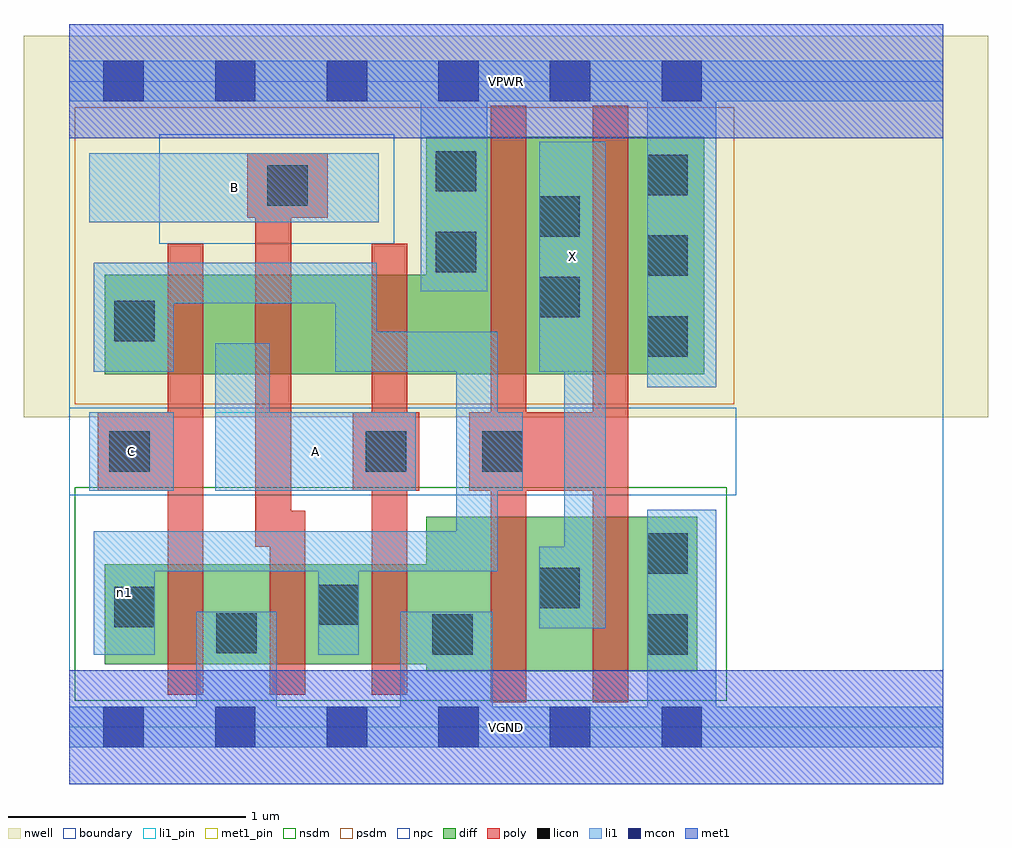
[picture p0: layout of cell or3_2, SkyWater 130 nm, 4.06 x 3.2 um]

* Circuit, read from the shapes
.subckt or3_2 A B C VGND VPWR X n1
XM1 VGND C n1 VSUBS sky130_fd_pr__nfet_01v8 w=0.42 l=0.15
XM2 n1 B VGND VSUBS sky130_fd_pr__nfet_01v8 w=0.42 l=0.15
XM3 VGND A n1 VSUBS sky130_fd_pr__nfet_01v8 w=0.42 l=0.15
XM4 X n1 VGND VSUBS sky130_fd_pr__nfet_01v8 w=0.65 l=0.15 m=2
XM5 n2 C n1 n3 sky130_fd_pr__pfet_01v8 w=0.42 l=0.15
XM6 n4 B n2 n3 sky130_fd_pr__pfet_01v8 w=0.42 l=0.15
XM7 VPWR A n4 n3 sky130_fd_pr__pfet_01v8 w=0.42 l=0.15
XM8 X n1 VPWR n3 sky130_fd_pr__pfet_01v8 w=1 l=0.15 m=2
.ends

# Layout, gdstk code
import gdstk
lib = gdstk.Library(unit=1e-6, precision=1e-09)
def R(c, l, rs):  # rectangles x0, y0, x1, y1
    for r in rs: c.add(gdstk.rectangle(r[:2], r[2:], *l))
def A(c, l, x, y, w, h, nx, ny, dx, dy):  # array of equal rectangles
    R(c, l, [(x+i*dx, y+j*dy, x+i*dx+w, y+j*dy+h) for i in range(nx) for j in range(ny)])
nwell = (64, 20)
diff = (65, 20)
poly = (66, 20)
licon = (66, 44)
li1_pin = (67, 16)
li1 = (67, 20)
mcon = (67, 44)
met1_pin = (68, 16)
met1 = (68, 20)
nsdm = (93, 44)
psdm = (94, 20)
npc = (95, 20)
boundary = (235, 4)

or3_2 = lib.new_cell('or3_2')
R(or3_2, nwell, [(-0.19,1.305,3.87,2.91), (0,1.305,3.68,2.91)])
R(or3_2, diff, [(1.505,0.235,2.645,0.885), (0.15,0.265,2.645,0.685), (0.15,1.485,2.675,1.905), (1.505,1.485,2.675,2.485)])
R(or3_2, poly, [(1.775,0.105,1.925,2.615), (2.205,0.105,2.355,2.615), (0.415,0.135,0.565,2.035), (0.845,0.135,0.995,0.91), (1.275,0.135,1.425,2.035), (0.785,0.76,0.935,2.415), (0.12,0.995,0.565,1.325), (1.195,0.995,1.475,1.325), (1.685,0.995,2.355,1.325), (0.75,2.145,1.09,2.415)])
A(or3_2, licon, 2.435, 1.56, 0.17, 0.17, 1, 3, 0, 0.34)
R(or3_2, licon, [(1.53,0.305,1.7,0.475), (2.435,0.305,2.605,0.475), (0.62,0.31,0.79,0.48), (0.19,0.42,0.36,0.59), (1.05,0.43,1.22,0.6), (1.98,0.5,2.15,0.67), (2.435,0.645,2.605,0.815), (0.17,1.075,0.34,1.245), (1.25,1.075,1.42,1.245), (1.74,1.075,1.91,1.245), (0.19,1.625,0.36,1.795), (1.98,1.725,2.15,1.895), (1.545,1.915,1.715,2.085), (1.98,2.065,2.15,2.235), (0.835,2.195,1.005,2.365), (1.545,2.255,1.715,2.425)])
R(or3_2, li1_pin, [(0.085,0.995,0.44,1.325), (0.615,0.995,1.46,1.325), (1.98,1.495,2.26,2.465), (0.085,2.125,1.305,2.415)])
R(or3_2, li1, [(0,-0.085,3.68,0.085), (0.535,-0.085,0.875,0.485), (1.395,-0.085,1.785,0.485), (2.435,-0.085,2.725,0.915), (0.105,0.305,0.36,0.825), (1.05,0.305,1.22,0.825), (1.98,0.415,2.26,0.76), (2.085,0.415,2.26,2.465), (0.105,0.655,1.805,0.825), (1.63,0.655,1.805,1.665), (0.085,0.995,0.44,1.325), (0.615,0.995,1.46,1.325), (0.615,0.995,0.845,1.615), (1.63,0.995,1.91,1.325), (2.435,1.43,2.725,2.805), (0.105,1.495,0.44,1.955), (1.12,1.495,1.805,1.665), (1.12,1.495,1.295,1.955), (1.98,1.495,2.26,2.465), (0.105,1.785,1.295,1.955), (1.48,1.835,1.76,2.805), (0.085,2.125,1.305,2.415), (0,2.635,3.68,2.805)])
A(or3_2, mcon, 0.145, -0.085, 0.17, 0.17, 6, 2, 0.47, 2.72)
R(or3_2, met1_pin, [(0,-0.24,3.68,0.24), (0,2.48,3.68,2.96)])
R(or3_2, met1, [(0,-0.24,3.68,0.24), (0,2.48,3.68,2.96)])
R(or3_2, nsdm, [(0.025,0.11,2.77,1.01)])
R(or3_2, psdm, [(0.025,1.36,2.8,2.61)])
R(or3_2, npc, [(0,0.975,2.81,1.345), (0.38,2.035,1.37,2.495)])
R(or3_2, boundary, [(0,0,3.68,2.72)])
or3_2.add(gdstk.Label('A', (1.037,1.16), layer=67, texttype=5))
or3_2.add(gdstk.Label('B', (0.695,2.27), layer=67, texttype=5))
or3_2.add(gdstk.Label('C', (0.262,1.16), layer=67, texttype=5))
or3_2.add(gdstk.Label('X', (2.12,1.98), layer=67, texttype=5))
or3_2.add(gdstk.Label('n1', (0.232,0.565), layer=67, texttype=5))
or3_2.add(gdstk.Label('VPWR', (1.84,2.72), layer=68, texttype=5))
or3_2.add(gdstk.Label('VGND', (1.84,0), layer=68, texttype=5))
or3_2.add(gdstk.Label('A', (1.037,1.16), layer=67, texttype=16))
or3_2.add(gdstk.Label('B', (0.695,2.27), layer=67, texttype=16))
or3_2.add(gdstk.Label('C', (0.262,1.16), layer=67, texttype=16))
or3_2.add(gdstk.Label('X', (2.12,1.98), layer=67, texttype=16))
or3_2.add(gdstk.Label('VPWR', (1.84,2.72), layer=68, texttype=16))
or3_2.add(gdstk.Label('VGND', (1.84,0), layer=68, texttype=16))

lib.write_gds('or3_2.gds')
